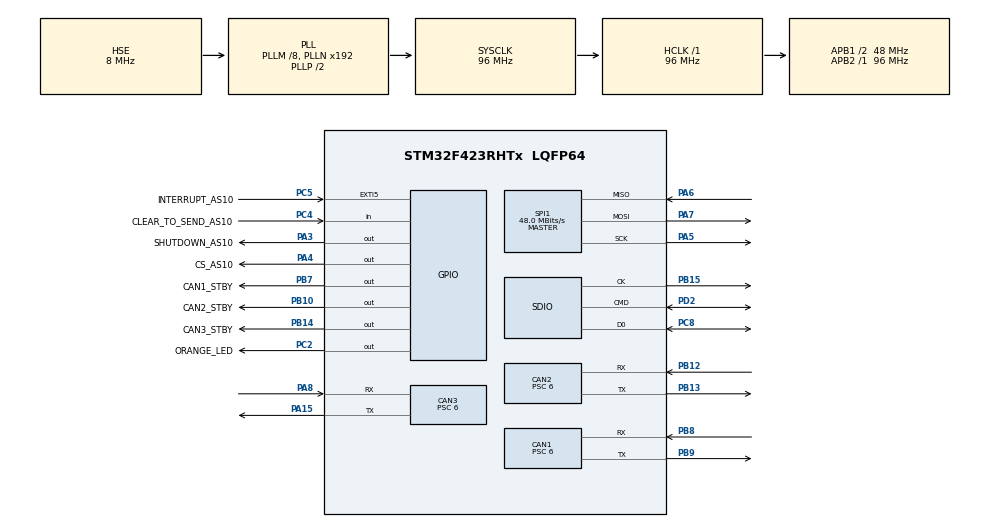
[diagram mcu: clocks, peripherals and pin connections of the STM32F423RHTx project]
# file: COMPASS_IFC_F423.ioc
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Mcu.Family=STM32F4
PA6.Mode=Full_Duplex_Master
RCC.CortexFreq_Value=96000000
NVIC.CAN2_RX0_IRQn=true\:3\:0\:true\:false\:true\:true\:true
SPI1.VirtualType=VM_MASTER
PB10.GPIO_PuPd=GPIO_PULLDOWN
NVIC.TIM6_DAC_IRQn=true\:3\:0\:true\:false\:true\:true\:true
VP_FATFS_VS_SDIO.Mode=SDIO
CAN2.CalculateTimeBit=1000.00
PB14.GPIO_Label=CAN3_STBY
PB15.Signal=SDIO_CK
PB13.Signal=CAN2_TX
RCC.SYSCLKSource=RCC_SYSCLKSOURCE_PLLCLK
ProjectManager.StackSize=0x400
PC11.GPIO_PuPd=GPIO_PULLUP
PH0\ -\ OSC_IN.Signal=RCC_OSC_IN
SPI1.Direction=SPI_DIRECTION_2LINES
RCC.HCLKFreq_Value=96000000
RCC.APB2TimFreq_Value=96000000
SPI1.CalculateBaudRate=48.0 MBits/s
RCC.AHBFreq_Value=96000000
CAN3.BS1=CAN_BS1_6TQ
RCC.HSE_VALUE=8000000
PB3.Mode=Trace_Asynchronous_SW
PA15.Mode=CAN_Activate
CAN3.Prescaler=6
PC4.GPIO_Label=CLEAR_TO_SEND_AS10
PA14.Mode=Trace_Asynchronous_SW
CAN2.Prescaler=6
PB7.Signal=GPIO_Output
PA8.Signal=CAN3_RX
CAN3.CalculateTimeQuantum=125.0
TIM6.Period=1000 - 1
PB7.GPIO_Label=CAN1_STBY
CAN1.Prescaler=6
Mcu.Package=LQFP64
PB9.Signal=CAN1_TX
PB14.GPIO_PuPd=GPIO_PULLDOWN
PA6.Signal=SPI1_MISO
PB12.Mode=CAN_Activate
CAN2.BS1=CAN_BS1_6TQ
NVIC.CAN3_RX0_IRQn=true\:3\:0\:true\:false\:true\:true\:true
PA15.Signal=CAN3_TX
RCC.APB1TimFreq_Value=96000000
PC5.Signal=GPXTI5
PB13.Mode=CAN_Activate
CAN1.CalculateTimeBit=1000.00
PA4.GPIO_Label=CS_AS10
PC2.GPIO_Label=ORANGE_LED
PA3.Signal=GPIO_Output
CAN1.CalculateTimeQuantum=125.0
PA5.Mode=Full_Duplex_Master
PB7.GPIO_PuPd=GPIO_PULLDOWN
RCC.PLLSourceVirtual=RCC_PLLSOURCE_HSE
CAN2.CalculateBaudRate=1000000
PA7.Mode=Full_Duplex_Master
PD2.GPIO_PuPd=GPIO_PULLUP
PC11.Signal=SDIO_D3
CAN1.CalculateBaudRate=1000000
PC8.Signal=SDIO_D0
PH1\ -\ OSC_OUT.Mode=HSE-External-Oscillator
TIM6.Prescaler=96 -1
PC4.Signal=GPIO_Input
PC2.Signal=GPIO_Output
VP_TIM6_VS_ClockSourceINT.Mode=Enable_Timer
RCC.APB1CLKDivider=RCC_HCLK_DIV2
PA9.GPIO_PuPd=GPIO_PULLUP
PA13.Signal=SYS_JTMS-SWDIO
PH0\ -\ OSC_IN.Mode=HSE-External-Oscillator
CAN1.BS1=CAN_BS1_6TQ
ProjectManager.TargetToolchain=STM32CubeIDE
PB10.GPIO_Label=CAN2_STBY
PB9.Mode=CAN_Activate
PA9.Signal=SDIO_D2
RCC.USBFreq_Value=48000000
SDIO.ClockDiv=15
CAN3.CalculateBaudRate=1000000
PB10.Signal=GPIO_Output
PD2.Mode=SD_1_bit
PB14.Signal=GPIO_Output
PA5.Signal=SPI1_SCK
PH1\ -\ OSC_OUT.Signal=RCC_OSC_OUT
board=custom
RCC.VCOOutputFreq_Value=192000000
PB15.Mode=SD_1_bit
CAN3.CalculateTimeBit=1000.00
RCC.APB2Freq_Value=96000000
SPI1.Mode=SPI_MODE_MASTER
CAN2.CalculateTimeQuantum=125.0
PC9.GPIO_PuPd=GPIO_PULLUP
PA13.Mode=Trace_Asynchronous_SW
Mcu.Name=STM32F423RHTx
FATFS._MAX_SS=4096
PC8.Mode=SD_1_bit
PC8.GPIO_PuPd=GPIO_PULLUP
PB3.Signal=SYS_JTDO-SWO
PA4.Signal=GPIO_Output
RCC.SYSCLKFreq_VALUE=96000000
PC5.GPIO_Label=INTERRUPT_AS10
PA14.Signal=SYS_JTCK-SWCLK
ProjectManager.HeapSize=0x200
RCC.PLLQ=4
NVIC.PriorityGroup=NVIC_PRIORITYGROUP_4
RCC.PLLM=8
PB8.Mode=CAN_Activate
PB8.Signal=CAN1_RX
PA8.Mode=CAN_Activate
PC9.Signal=SDIO_D1
PD2.Signal=SDIO_CMD
RCC.APB1Freq_Value=48000000
PB12.Signal=CAN2_RX
NVIC.CAN1_RX0_IRQn=true\:3\:0\:true\:false\:true\:true\:true
PA3.GPIO_Label=SHUTDOWN_AS10
PA7.Signal=SPI1_MOSI

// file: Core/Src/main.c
/* USER CODE BEGIN Header */
/**
  ******************************************************************************
  * @file           : main.c
  * @brief          : Main program body
  ******************************************************************************
  * @attention
  *
  * <h2><center>&copy; Copyright (c) 2021 STMicroelectronics.
  * All rights reserved.</center></h2>
  *
  * This software component is licensed by ST under BSD 3-Clause license,
  * the "License"; You may not use this file except in compliance with the
  * License. You may obtain a copy of the License at:
  *                        opensource.org/licenses/BSD-3-Clause
  *
  ******************************************************************************
  */
/* USER CODE END Header */
#include "main.h"
#include "can.h"
#include "fatfs.h"
#include "sdio.h"
#include "spi.h"
#include "tim.h"
#include "gpio.h"

/* USER CODE BEGIN Includes */
#include "OSUserInclude.h"
#include "ifc.h"
/* USER CODE END Includes */

void SystemClock_Config(void);

/* USER CODE BEGIN 0 */

IFC_PeripheralStruct ifc;
/* USER CODE END 0 */

int main(void)
{

  /* MCU Configuration--------------------------------------------------------*/

  /* Reset of all peripherals, Initializes the Flash interface and the Systick. */
  HAL_Init();

  /* Configure the system clock */
  SystemClock_Config();

  /* Initialize all configured peripherals */
  MX_GPIO_Init();
  MX_CAN1_Init();
  MX_CAN2_Init();
  MX_CAN3_Init();
  MX_SDIO_SD_Init();
  MX_SPI1_Init();
  MX_FATFS_Init();
  MX_TIM6_Init();
  /* USER CODE BEGIN 2 */

    ifc.busSys = &hcan1;
	ifc.busGSE = &hcan3;
//	ifc.serialDebug = &huart2;
	ifc.htim = &htim6;

	ifc.LD1.port = ORANGE_LED_GPIO_Port;
	ifc.LD1.pin = ORANGE_LED_Pin;

	initMicrocontroller();
	HYOS_start();
	IFC_init(&ifc);
	HYOS_start();

//	uint32_t time = 3000;
//	IFC_DH_sendTransition(IDLE);
//	HAL_Delay(time);
//	IFC_DH_sendTransition(IDLE);
//	HAL_Delay(1000);
//	IFC_DH_sendTransition(IDLE);
//	HAL_Delay(1000);
//	IFC_DH_sendTransition(FUELING);
//	HAL_Delay(time);
//	IFC_DH_sendTransition(FUELING);
//	HAL_Delay(1000);
//	IFC_DH_sendTransition(FUELING);
//	HAL_Delay(1000);
//	IFC_DH_sendTransition(RDY_SET);
//	HAL_Delay(time);
//	IFC_DH_sendTransition(RDY_SET);
//	HAL_Delay(1000);
//	IFC_DH_sendTransition(RDY_SET);
//	HAL_Delay(1000);
//	IFC_DH_sendTransition(FLIGHT);
//	HAL_Delay(time);
//	IFC_DH_sendTransition(FLIGHT);
//	HAL_Delay(1000);
//	IFC_DH_sendTransition(FLIGHT);
//	HAL_Delay(1000);

  /* USER CODE END 2 */

  /* Infinite loop */
  /* USER CODE BEGIN WHILE */
  while (1)
  {
	  getTasks()->whileHandle();

//	IFC_DH_sendTransition(IDLE);
//	IFC_DH_sendTransition(RDY_SET);
    /* USER CODE END WHILE */

  }
}

void SystemClock_Config(void)
{
  RCC_OscInitTypeDef RCC_OscInitStruct = {0};
  RCC_ClkInitTypeDef RCC_ClkInitStruct = {0};
  RCC_PeriphCLKInitTypeDef PeriphClkInitStruct = {0};

  /** Configure the main internal regulator output voltage
  */
  __HAL_RCC_PWR_CLK_ENABLE();
  __HAL_PWR_VOLTAGESCALING_CONFIG(PWR_REGULATOR_VOLTAGE_SCALE1);
  /** Initializes the RCC Oscillators according to the specified parameters
  * in the RCC_OscInitTypeDef structure.
  */
  RCC_OscInitStruct.OscillatorType = RCC_OSCILLATORTYPE_HSE;
  RCC_OscInitStruct.HSEState = RCC_HSE_ON;
  RCC_OscInitStruct.PLL.PLLState = RCC_PLL_ON;
  RCC_OscInitStruct.PLL.PLLSource = RCC_PLLSOURCE_HSE;
  RCC_OscInitStruct.PLL.PLLM = 8;
  RCC_OscInitStruct.PLL.PLLN = 192;
  RCC_OscInitStruct.PLL.PLLP = RCC_PLLP_DIV2;
  RCC_OscInitStruct.PLL.PLLQ = 4;
  RCC_OscInitStruct.PLL.PLLR = 2;
  if (HAL_RCC_OscConfig(&RCC_OscInitStruct) != HAL_OK)
  {
    Error_Handler();
  }
  /** Initializes the CPU, AHB and APB buses clocks
  */
  RCC_ClkInitStruct.ClockType = RCC_CLOCKTYPE_HCLK|RCC_CLOCKTYPE_SYSCLK
                              |RCC_CLOCKTYPE_PCLK1|RCC_CLOCKTYPE_PCLK2;
  RCC_ClkInitStruct.SYSCLKSource = RCC_SYSCLKSOURCE_PLLCLK;
  RCC_ClkInitStruct.AHBCLKDivider = RCC_SYSCLK_DIV1;
  RCC_ClkInitStruct.APB1CLKDivider = RCC_HCLK_DIV2;
  RCC_ClkInitStruct.APB2CLKDivider = RCC_HCLK_DIV1;

  if (HAL_RCC_ClockConfig(&RCC_ClkInitStruct, FLASH_LATENCY_3) != HAL_OK)
  {
    Error_Handler();
  }
  PeriphClkInitStruct.PeriphClockSelection = RCC_PERIPHCLK_SDIO|RCC_PERIPHCLK_CLK48;
  PeriphClkInitStruct.Clk48ClockSelection = RCC_CLK48CLKSOURCE_PLLQ;
  PeriphClkInitStruct.SdioClockSelection = RCC_SDIOCLKSOURCE_CLK48;
  if (HAL_RCCEx_PeriphCLKConfig(&PeriphClkInitStruct) != HAL_OK)
  {
    Error_Handler();
  }
}

/* USER CODE BEGIN 4 */
void HAL_TIM_PeriodElapsedCallback(TIM_HandleTypeDef *htim) {
	IFC_BOARD_tick();
}
/* USER CODE END 4 */

void Error_Handler(void)
{
  __disable_irq();
  while (1)
  {
  }
}

/************************ (C) COPYRIGHT STMicroelectronics *****END OF FILE****/
